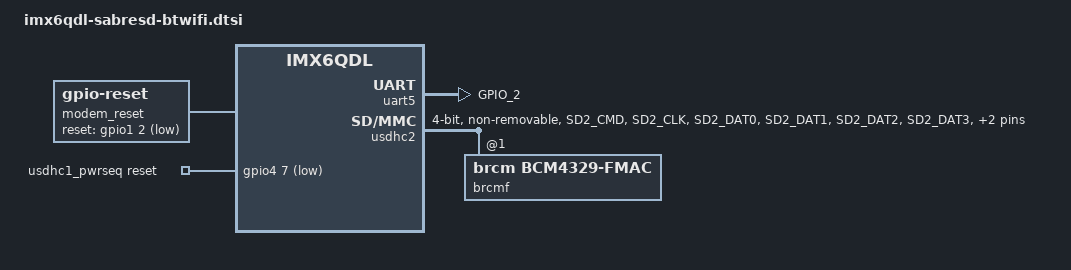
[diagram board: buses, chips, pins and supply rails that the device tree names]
/*
 * Copyright (C) 2015 Freescale Semiconductor, Inc.
 *
 * This program is free software; you can redistribute it and/or modify
 * it under the terms of the GNU General Public License version 2 as
 * published by the Free Software Foundation.
 */

/*
 * NOTE: This DTS file is written for plugging in Murata Wi-Fi/BT EVK into SD2
 * slot using Murata i.MX InterConnect Ver 2.0 Adapter & connecting Bluetooth
 * UART & control signals via ribbon cable.
 * This configuration supports both WLAN and Bluetooth.
 * WL_REG_ON/BT_REG_ON/WL_HOST_WAKE are connected via ribbon cable (J13 connector
 * on board).
 * ==> Hardware modification is required. Refer to schematic.
 */

/ {
	leds {
		compatible = "gpio-leds";
		status = "disabled";
	};

	modem_reset: modem-reset {
		compatible = "gpio-reset";
		reset-gpios = <&gpio1 2 GPIO_ACTIVE_LOW>;
		reset-delay-us = <1000>;
		#reset-cells = <0>;
	};

	usdhc1_pwrseq: usdhc1_pwrseq {
		compatible = "mmc-pwrseq-simple";
		reset-gpios = <&gpio4 7 GPIO_ACTIVE_LOW>;
	};
};

&ecspi1 {
	status = "disabled";
};

&iomuxc {
	imx6qdl-sabresd-murata-v2 {
		pinctrl_btreg: btreggrp {
			fsl,pins = <
				MX6QDL_PAD_GPIO_2__GPIO1_IO02 0x1b0b0
			>;
		};

		/* add MUXing entry for SD2 4-bit interface and configure control pins */
		pinctrl_wifi: wifigrp {
			fsl,pins = <
				MX6QDL_PAD_SD2_CMD__SD2_CMD		0x17059
				MX6QDL_PAD_SD2_CLK__SD2_CLK		0x10059
				MX6QDL_PAD_SD2_DAT0__SD2_DATA0		0x17059
				MX6QDL_PAD_SD2_DAT1__SD2_DATA1		0x17059
				MX6QDL_PAD_SD2_DAT2__SD2_DATA2		0x17059
				MX6QDL_PAD_SD2_DAT3__SD2_DATA3		0x17059
				MX6QDL_PAD_KEY_ROW0__GPIO4_IO07		0x13069	/* WL_REG_ON */
				MX6QDL_PAD_KEY_COL0__GPIO4_IO06		0x13069	/* WL_HOST_WAKE */
			>;
		};
	};
};

&pinctrl_gpio_leds {
	fsl,pins = <
	>;
};

&uart5 {
	pinctrl-names = "default";
	pinctrl-0 = <&pinctrl_uart5_1
		     &pinctrl_btreg>;
	fsl,uart-has-rtscts;
	resets = <&modem_reset>;
	status = "okay";
	/* for DTE mode, add below change */
	/* fsl,dte-mode; */
	/* pinctrl-0 = <&pinctrl_uart5dte_1>; */
};

&usdhc2 {
	#address-cells = <1>;
	#size-cells = <0>;
	pinctrl-names = "default";
	pinctrl-0 = <&pinctrl_wifi>;
	bus-width = <4>;
	no-1-8-v;
	non-removable;
	mmc-pwrseq = <&usdhc1_pwrseq>;
	pm-ignore-notify;
	cap-power-off-card;

	brcmf: bcrmf@1 {
		reg = <1>;
		compatible = "brcm,bcm4329-fmac";
	};
};
